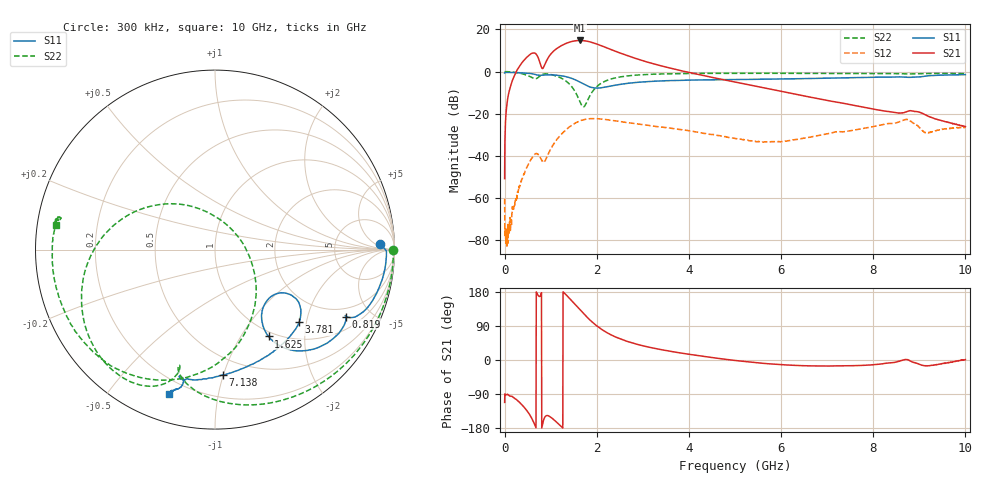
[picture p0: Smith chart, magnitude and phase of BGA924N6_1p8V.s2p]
! (c) 2013 Infineon Technologies AG
! BGA924N6 - SiGe GNSS Low Noise Amplifier (LNA)
! 05 September 2013
! BGA924N6 Sample on Standard Application Board
! C1 = 0.2 ohm (Jumper)
! L1 = 1 uF
! C2 = 100 nF
! VCC = 1.8 V
! RF input and output lines de-embedded
! Port 1 reference plane: LNA input AI (pin 5)
! Port 2 reference plane: LNA output AO (pin 3)
! Network Data:
! Measured BGA924N6 device level s-parameters 29.08.2013
# Hz S dB R 50
!  f  Mag(S11)  Pha(S11)  Mag(S21)  Pha(S21)  Mag(S12)  Pha(S12)  Mag(S22)  Pha(S22)
!  Hz  dB  deg  dB  deg  dB  deg  dB  deg
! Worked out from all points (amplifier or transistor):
!   1601 points, 300 kHz to 10 GHz, reference 50 ohm
!   highest |S21| = 14.7 dB at 1.638 GHz (marker M1)
!   |S21| within 3 dB of that: 1.188 GHz to 2.159 GHz (970.1 MHz wide, 58 % of centre)
!   unconditionally stable (mu >= 1): start of sweep to end of sweep
!   at 1.663 GHz: K = 1.18, MAG = 16.4 dB, |S12| = -23.2 dB
!   at 5 GHz: K = 3.66, MAG = 4.8 dB, |S12| = -31.7 dB
!   at 10 GHz: K = 11.63, MAG = -13.4 dB, |S12| = -26.6 dB
!   lowest NFmin = 0.58 dB at 1.55 GHz
!   S11 on the Smith chart (normalised r, x): 300 kHz: 20, +9; 819 MHz: 1.54, -3.51; 1.625 GHz: 0.93, -1.33; 3.781 GHz: 1.39, -1.82; 7.138 GHz: 0.36, -1.00; 10 GHz: 0.13, -0.72
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300000  -0.72 2.1  -50.79 -111.9  -60.34 -165.2  -0.06 -0.0
1.065468e8  -0.41 -4.2  -8.83 -94.9  -71.21 151.8  -0.12 -23.8
4.440367e8  -0.70 -17.8  5.92 -127.5  -47.30 169.2  -1.44 -88.0
6.377809e8  -1.25 -25.6  8.80 -166.2  -39.65 141.3  -3.32 -107.5
7.315281e8  -1.74 -27.0  6.44 169.9  -39.40 118.3  -2.76 -107.0
8.190254e8  -1.73 -27.1  1.43 -172.3  -42.45 121.2  -1.36 -117.6
9.690209e8  -1.58 -31.9  7.33 -148.6  -38.08 159.6  -1.26 -141.4
1.137766e9  -1.76 -39.2  10.99 -165.0  -32.09 153.0  -2.27 -164.2
1.406508e9  -2.87 -51.7  13.91 163.0  -26.28 129.6  -5.93 156.2
1.625251e9  -4.90 -58.3  14.73 134.0  -23.49 105.8  -13.88 97.7
1.637751e9  -5.04 -58.4  14.74 132.4  -23.37 104.4  -14.51 91.2
1.669e9  -5.40 -58.4  14.71 128.3  -23.13 100.8  -15.96 72.0
1.887743e9  -7.54 -50.4  13.86 101.6  -22.32 78.3  -10.11 -42.7
2.237733e9  -7.15 -33.3  11.05 71.1  -22.89 53.3  -4.06 -87.8
2.718968e9  -5.48 -31.4  7.12 46.8  -24.40 35.9  -1.97 -114.5
3.3377e9  -4.51 -36.5  3.04 28.8  -26.17 25.4  -1.20 -132.9
3.781437e9  -4.17 -40.6  0.63 19.3  -27.44 21.7  -1.00 -143.0
5.00015e9  -3.79 -54.0  -5.01 -1.3  -31.71 29.3  -0.82 -166.2
6.66885e9  -3.28 -79.4  -12.30 -15.5  -30.95 83.0  -0.89 174.5
7.137586e9  -3.10 -86.3  -14.26 -15.7  -28.87 88.7  -0.93 171.8
8.33755e9  -2.68 -102.1  -18.98 -7.7  -24.66 87.3  -0.98 168.5
1e10  -1.47 -107.6  -26.11 1.0  -26.56 96.3  -0.96 171.1
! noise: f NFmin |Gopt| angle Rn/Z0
1.55e+09  0.5843  0.4918  39.01  0.173
1.557e+09  0.5848  0.4913  39.18  0.1728
1.564e+09  0.5853  0.4909  39.35  0.1727
1.571e+09  0.5859  0.4905  39.52  0.1725
1.578e+09  0.5865  0.4901  39.69  0.1723
1.586e+09  0.5872  0.4896  39.88  0.1722
1.593e+09  0.5878  0.4892  40.05  0.172
1.6e+09  0.5884  0.4887  40.22  0.1719
1.607e+09  0.589  0.4883  40.39  0.1717
1.615e+09  0.5897  0.4878  40.58  0.1716
